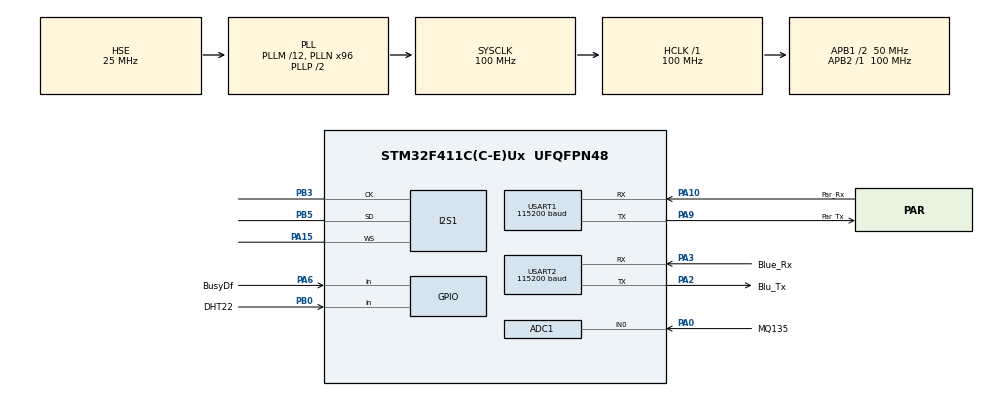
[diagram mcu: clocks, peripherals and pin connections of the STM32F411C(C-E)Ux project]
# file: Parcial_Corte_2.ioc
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ADC1.Channel-3\#ChannelRegularConversion=ADC_CHANNEL_0
ADC1.ContinuousConvMode=ENABLE
ADC1.DMAContinuousRequests=ENABLE
ADC1.NbrOfConversion=1
ADC1.NbrOfConversionFlag=1
ADC1.Rank-3\#ChannelRegularConversion=1
ADC1.SamplingTime-3\#ChannelRegularConversion=ADC_SAMPLETIME_480CYCLES
ADC1.master=1
Dma.ADC1.0.Direction=DMA_PERIPH_TO_MEMORY
Dma.ADC1.0.FIFOMode=DMA_FIFOMODE_DISABLE
Dma.ADC1.0.Instance=DMA2_Stream0
Dma.ADC1.0.MemDataAlignment=DMA_MDATAALIGN_HALFWORD
Dma.ADC1.0.MemInc=DMA_MINC_ENABLE
Dma.ADC1.0.Mode=DMA_CIRCULAR
Dma.ADC1.0.PeriphDataAlignment=DMA_PDATAALIGN_HALFWORD
Dma.ADC1.0.PeriphInc=DMA_PINC_DISABLE
Dma.ADC1.0.Priority=DMA_PRIORITY_LOW
Dma.Request0=ADC1
Dma.Request1=SPI1_RX
Dma.SPI1_RX.1.Direction=DMA_PERIPH_TO_MEMORY
Dma.SPI1_RX.1.FIFOMode=DMA_FIFOMODE_DISABLE
Dma.SPI1_RX.1.Instance=DMA2_Stream2
Dma.SPI1_RX.1.MemDataAlignment=DMA_MDATAALIGN_HALFWORD
Dma.SPI1_RX.1.MemInc=DMA_MINC_ENABLE
Dma.SPI1_RX.1.Mode=DMA_CIRCULAR
Dma.SPI1_RX.1.PeriphDataAlignment=DMA_PDATAALIGN_HALFWORD
Dma.SPI1_RX.1.PeriphInc=DMA_PINC_DISABLE
Dma.SPI1_RX.1.Priority=DMA_PRIORITY_HIGH
I2S1.AudioFreq=I2S_AUDIOFREQ_16K
I2S1.DataFormat=I2S_DATAFORMAT_24B
I2S1.ErrorAudioFreq=0.33 %
I2S1.FullDuplexMode=I2S_FULLDUPLEXMODE_DISABLE
I2S1.Instance=SPI$Index
I2S1.Mode=I2S_MODE_MASTER_RX
I2S1.RealAudioFreq=16.053 KHz
I2S1.VirtualMode=I2S_MODE_MASTER
Mcu.Family=STM32F4
Mcu.Name=STM32F411C(C-E)Ux
Mcu.Package=UFQFPN48
NVIC.DMA2_Stream0_IRQn=true\:0\:0\:false\:false\:true\:false\:true\:true
NVIC.DMA2_Stream2_IRQn=true\:0\:0\:false\:false\:true\:false\:true\:true
NVIC.PriorityGroup=NVIC_PRIORITYGROUP_4
PA0-WKUP.GPIO_Label=MQ135
PA0-WKUP.Signal=ADCx_IN0
PA10.GPIO_Label=Par_Rx
PA10.Mode=Asynchronous
PA10.Signal=USART1_RX
PA15.Mode=Half_Duplex_Master
PA15.Signal=I2S1_WS
PA2.GPIO_Label=Blu_Tx
PA2.Mode=Asynchronous
PA2.Signal=USART2_TX
PA3.GPIO_Label=Blue_Rx
PA3.Mode=Asynchronous
PA3.Signal=USART2_RX
PA6.GPIO_Label=BusyDf
PA6.Signal=GPIO_Input
PA9.GPIO_Label=Par_Tx
PA9.Mode=Asynchronous
PA9.Signal=USART1_TX
PB0.GPIO_Label=DHT22
PB0.Signal=GPIO_Input
PB3.Mode=Half_Duplex_Master
PB3.Signal=I2S1_CK
PB5.Mode=Half_Duplex_Master
PB5.Signal=I2S1_SD
PH0\ -\ OSC_IN.Mode=HSE-External-Oscillator
PH0\ -\ OSC_IN.Signal=RCC_OSC_IN
PH1\ -\ OSC_OUT.Mode=HSE-External-Oscillator
PH1\ -\ OSC_OUT.Signal=RCC_OSC_OUT
ProjectManager.HeapSize=0x200
ProjectManager.StackSize=0x400
ProjectManager.TargetToolchain=CMake
RCC.48MHZClocksFreq_Value=50000000
RCC.AHBFreq_Value=100000000
RCC.APB1CLKDivider=RCC_HCLK_DIV2
RCC.APB1Freq_Value=50000000
RCC.APB1TimFreq_Value=100000000
RCC.APB2Freq_Value=100000000
RCC.APB2TimFreq_Value=100000000
RCC.CortexFreq_Value=100000000
RCC.HCLKFreq_Value=100000000
RCC.HSE_VALUE=25000000
RCC.HSI_VALUE=16000000
RCC.LSE_VALUE=32768
RCC.PLLM=12
RCC.PLLN=96
RCC.PLLSourceVirtual=RCC_PLLSOURCE_HSE
RCC.SYSCLKFreq_VALUE=100000000
RCC.SYSCLKSource=RCC_SYSCLKSOURCE_PLLCLK
RCC.VCOOutputFreq_Value=200000000
SH.ADCx_IN0.0=ADC1_IN0,IN0
TIM2.AutoReloadPreload=TIM_AUTORELOAD_PRELOAD_ENABLE
TIM2.Period=19999
TIM2.Prescaler=99
USART1.BaudRate=115200
USART1.VirtualMode=VM_ASYNC
USART2.BaudRate=115200
USART2.VirtualMode=VM_ASYNC
VP_TIM2_VS_ClockSourceINT.Mode=Internal
board=custom

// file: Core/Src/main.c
/* USER CODE BEGIN Header */
/**
  ******************************************************************************
  * @file           : main.c
  * @brief          : Main program body
  ******************************************************************************
  * @attention
  *
  * Copyright (c) 2026 STMicroelectronics.
  * All rights reserved.
  *
  * This software is licensed under terms that can be found in the LICENSE file
  * in the root directory of this software component.
  * If no LICENSE file comes with this software, it is provided AS-IS.
  *
  ******************************************************************************
  */
/* USER CODE END Header */
#include "main.h"

/* USER CODE BEGIN Includes */
#include "stdio.h"
#include "math.h"
#include "stdlib.h"
#include "inmp441.h"
#include "uart.h"
#include "adc_x.h"
#include "mq135.h"
#include "dht22.h"
/* USER CODE END Includes */

/* USER CODE BEGIN PD */
#define DEBUG_UART                  huart2

#define MQ135_CALIBRAR_AL_ARRANQUE  0     // pon 0 cuando ya tengas R0 fijo en mq135.h
#define MQ135_PRECALENTAMIENTO_S    120   // segundos (para probar rápido, usa 60)

#define MQ_MUESTRAS                 8     // lecturas que se promedian
#define MQ_PERIODO_MUESTRA_MS       20    // una lectura cada 20 ms (no bloqueante)
#define MQ_PERIODO_REPORTE_MS       500   // cada cuánto se imprime el CO2
/* USER CODE END PD */

ADC_HandleTypeDef hadc1;
DMA_HandleTypeDef hdma_adc1;

I2S_HandleTypeDef hi2s1;
DMA_HandleTypeDef hdma_spi1_rx;

TIM_HandleTypeDef htim2;

UART_HandleTypeDef huart1;
UART_HandleTypeDef huart2;

/* USER CODE BEGIN PV */
uint16_t adc_value;
char texto[50];
float co2_ppm = 0.0f;
MQ135_t sensor_mq135;
/* USER CODE END PV */

void SystemClock_Config(void);
static void MX_GPIO_Init(void);
static void MX_DMA_Init(void);
static void MX_I2S1_Init(void);
static void MX_USART1_UART_Init(void);
static void MX_ADC1_Init(void);
static void MX_TIM2_Init(void);
static void MX_USART2_UART_Init(void);

/* USER CODE BEGIN 0 */
int _write(int file, char *ptr, int len)
{
    uartx_write_buffer(&DEBUG_UART, (uint8_t *)ptr, (uint16_t)len);
    return len;
}

static uint32_t MQ_Promedio(uint8_t n)
{
    uint32_t suma = 0;
    for (uint8_t i = 0; i < n; i++) {
        adc_value = ADC_Read(&hadc1);
        suma += adc_value;
        HAL_Delay(20);
    }
    return suma / n;
}

static void mq135_task(void)
{
    static uint32_t t_muestra = 0;
    static uint32_t suma = 0;
    static uint8_t  n = 0;

    if ((HAL_GetTick() - t_muestra) < MQ_PERIODO_MUESTRA_MS) return;
    t_muestra = HAL_GetTick();

    adc_value = ADC_Read(&hadc1);
    suma += adc_value;

    if (++n >= MQ_MUESTRAS) {
        co2_ppm = MQ135_ReadPPM(&sensor_mq135, suma / MQ_MUESTRAS);
        suma = 0;
        n = 0;
    }
}
/* USER CODE END 0 */

int main(void)
{

  /* MCU Configuration--------------------------------------------------------*/

  /* Reset of all peripherals, Initializes the Flash interface and the Systick. */
  HAL_Init();

  /* Configure the system clock */
  SystemClock_Config();

  /* Initialize all configured peripherals */
  MX_GPIO_Init();
  MX_DMA_Init();
  MX_I2S1_Init();
  MX_USART1_UART_Init();
  MX_ADC1_Init();
  MX_TIM2_Init();
  MX_USART2_UART_Init();
  /* USER CODE BEGIN 2 */

  dht22_init();

 setvbuf(stdout, NULL, _IONBF, 0);

    uartx_write_text(&DEBUG_UART, "Iniciando Procesos\r\n");
    MQ135_Init(&sensor_mq135, MQ135_DEFAULT_R0);

#if MQ135_CALIBRAR_AL_ARRANQUE
    for (uint16_t s = 0; s < MQ135_PRECALENTAMIENTO_S; s++) {
        sprintf(texto, ">calentando_s:%u\r\n", s);
        uartx_write_text(&DEBUG_UART, texto);
        HAL_Delay(1000);
    }
    MQ135_Calibrate(&sensor_mq135, MQ_Promedio(32));
    sprintf(texto, ">R0_cal:%.2f\r\n", sensor_mq135.r0);
    uartx_write_text(&DEBUG_UART, texto);
#endif

    /* El audio arranca DESPUÉS de lo bloqueante, así no se acumulan overruns */
    if (inmp441_init(&hi2s1) != HAL_OK) Error_Handler();
    printf("RxXferSize=%u (debe ser %u)\r\n", hi2s1.RxXferSize, INMP441_DMA_HALFWORDS);
  /* USER CODE END 2 */

  /* Infinite loop */
  /* USER CODE BEGIN WHILE */
while (1)
  {

        /* 1) AUDIO: se llama en cada vuelta, sin esperas en el resto del lazo */
        inmp441_result_t res;
        if (inmp441_process(&res)) {
            char msg[64];
            int n = snprintf(msg, sizeof(msg), ">freq:%u\n>rms:%u\n>ovr:%lu\n",
                             (unsigned)(res.freq_hz + 0.5f),
                             (unsigned)res.rms,
                             (unsigned long)res.overruns);
            uartx_write_buffer(&DEBUG_UART, (uint8_t *)msg, (uint16_t)n);
        }

        /* 2) MQ135: muestrea sin bloquear */
        mq135_task();

        /* 3) Reporte del CO2 cada 500 ms */
        static uint32_t t_rep = 0;
        if ((HAL_GetTick() - t_rep) >= MQ_PERIODO_REPORTE_MS) {
            t_rep = HAL_GetTick();
            sprintf(texto, ">CO2:%.1f\r\n", co2_ppm);
            uartx_write_text(&DEBUG_UART, texto);

        }
        static uint32_t t_dht = 0;
if ((HAL_GetTick() - t_dht) >= 2500U) {
    dht22_data_t d;
    HAL_StatusTypeDef st = dht22_read(&d);
    if (st != HAL_BUSY) {            /* BUSY = no tocó la línea */
        t_dht = HAL_GetTick();
        inmp441_discard();           /* la ventana de audio quedó rota */
        if (st == HAL_OK) {
            sprintf(texto, ">temp:%.1f\r\n>hum:%.1f\r\n", d.temp_c, d.hum_pct);
        } else {
            sprintf(texto, ">dht_err:%d\r\n", (int)st);   /* 3=TIMEOUT, 1=ERROR */
        }
        uartx_write_text(&DEBUG_UART, texto);
    }
}
    /* USER CODE END WHILE */

}
}

void SystemClock_Config(void)
{
  RCC_OscInitTypeDef RCC_OscInitStruct = {0};
  RCC_ClkInitTypeDef RCC_ClkInitStruct = {0};

  /** Configure the main internal regulator output voltage
  */
  __HAL_RCC_PWR_CLK_ENABLE();
  __HAL_PWR_VOLTAGESCALING_CONFIG(PWR_REGULATOR_VOLTAGE_SCALE1);

  /** Initializes the RCC Oscillators according to the specified parameters
  * in the RCC_OscInitTypeDef structure.
  */
  RCC_OscInitStruct.OscillatorType = RCC_OSCILLATORTYPE_HSE;
  RCC_OscInitStruct.HSEState = RCC_HSE_ON;
  RCC_OscInitStruct.PLL.PLLState = RCC_PLL_ON;
  RCC_OscInitStruct.PLL.PLLSource = RCC_PLLSOURCE_HSE;
  RCC_OscInitStruct.PLL.PLLM = 12;
  RCC_OscInitStruct.PLL.PLLN = 96;
  RCC_OscInitStruct.PLL.PLLP = RCC_PLLP_DIV2;
  RCC_OscInitStruct.PLL.PLLQ = 4;
  if (HAL_RCC_OscConfig(&RCC_OscInitStruct) != HAL_OK)
  {
    Error_Handler();
  }

  /** Initializes the CPU, AHB and APB buses clocks
  */
  RCC_ClkInitStruct.ClockType = RCC_CLOCKTYPE_HCLK|RCC_CLOCKTYPE_SYSCLK
                              |RCC_CLOCKTYPE_PCLK1|RCC_CLOCKTYPE_PCLK2;
  RCC_ClkInitStruct.SYSCLKSource = RCC_SYSCLKSOURCE_PLLCLK;
  RCC_ClkInitStruct.AHBCLKDivider = RCC_SYSCLK_DIV1;
  RCC_ClkInitStruct.APB1CLKDivider = RCC_HCLK_DIV2;
  RCC_ClkInitStruct.APB2CLKDivider = RCC_HCLK_DIV1;

  if (HAL_RCC_ClockConfig(&RCC_ClkInitStruct, FLASH_LATENCY_3) != HAL_OK)
  {
    Error_Handler();
  }
}

static void MX_ADC1_Init(void)
{

  ADC_ChannelConfTypeDef sConfig = {0};

  /** Configure the global features of the ADC (Clock, Resolution, Data Alignment and number of conversion)
  */
  hadc1.Instance = ADC1;
  hadc1.Init.ClockPrescaler = ADC_CLOCK_SYNC_PCLK_DIV4;
  hadc1.Init.Resolution = ADC_RESOLUTION_12B;
  hadc1.Init.ScanConvMode = DISABLE;
  hadc1.Init.ContinuousConvMode = ENABLE;
  hadc1.Init.DiscontinuousConvMode = DISABLE;
  hadc1.Init.ExternalTrigConvEdge = ADC_EXTERNALTRIGCONVEDGE_NONE;
  hadc1.Init.ExternalTrigConv = ADC_SOFTWARE_START;
  hadc1.Init.DataAlign = ADC_DATAALIGN_RIGHT;
  hadc1.Init.NbrOfConversion = 1;
  hadc1.Init.DMAContinuousRequests = ENABLE;
  hadc1.Init.EOCSelection = ADC_EOC_SINGLE_CONV;
  if (HAL_ADC_Init(&hadc1) != HAL_OK)
  {
    Error_Handler();
  }

  /** Configure for the selected ADC regular channel its corresponding rank in the sequencer and its sample time.
  */
  sConfig.Channel = ADC_CHANNEL_0;
  sConfig.Rank = 1;
  sConfig.SamplingTime = ADC_SAMPLETIME_480CYCLES;
  if (HAL_ADC_ConfigChannel(&hadc1, &sConfig) != HAL_OK)
  {
    Error_Handler();
  }

}

static void MX_I2S1_Init(void)
{

  hi2s1.Instance = SPI1;
  hi2s1.Init.Mode = I2S_MODE_MASTER_RX;
  hi2s1.Init.Standard = I2S_STANDARD_PHILIPS;
  hi2s1.Init.DataFormat = I2S_DATAFORMAT_24B;
  hi2s1.Init.MCLKOutput = I2S_MCLKOUTPUT_DISABLE;
  hi2s1.Init.AudioFreq = I2S_AUDIOFREQ_16K;
  hi2s1.Init.CPOL = I2S_CPOL_LOW;
  hi2s1.Init.ClockSource = I2S_CLOCK_PLL;
  hi2s1.Init.FullDuplexMode = I2S_FULLDUPLEXMODE_DISABLE;
  if (HAL_I2S_Init(&hi2s1) != HAL_OK)
  {
    Error_Handler();
  }

}

static void MX_TIM2_Init(void)
{

  TIM_ClockConfigTypeDef sClockSourceConfig = {0};
  TIM_MasterConfigTypeDef sMasterConfig = {0};

  htim2.Instance = TIM2;
  htim2.Init.Prescaler = 99;
  htim2.Init.CounterMode = TIM_COUNTERMODE_UP;
  htim2.Init.Period = 19999;
  htim2.Init.ClockDivision = TIM_CLOCKDIVISION_DIV1;
  htim2.Init.AutoReloadPreload = TIM_AUTORELOAD_PRELOAD_ENABLE;
  if (HAL_TIM_Base_Init(&htim2) != HAL_OK)
  {
    Error_Handler();
  }
  sClockSourceConfig.ClockSource = TIM_CLOCKSOURCE_INTERNAL;
  if (HAL_TIM_ConfigClockSource(&htim2, &sClockSourceConfig) != HAL_OK)
  {
    Error_Handler();
  }
  sMasterConfig.MasterOutputTrigger = TIM_TRGO_RESET;
  sMasterConfig.MasterSlaveMode = TIM_MASTERSLAVEMODE_DISABLE;
  if (HAL_TIMEx_MasterConfigSynchronization(&htim2, &sMasterConfig) != HAL_OK)
  {
    Error_Handler();
  }

}

static void MX_USART1_UART_Init(void)
{

  huart1.Instance = USART1;
  huart1.Init.BaudRate = 115200;
  huart1.Init.WordLength = UART_WORDLENGTH_8B;
  huart1.Init.StopBits = UART_STOPBITS_1;
  huart1.Init.Parity = UART_PARITY_NONE;
  huart1.Init.Mode = UART_MODE_TX_RX;
  huart1.Init.HwFlowCtl = UART_HWCONTROL_NONE;
  huart1.Init.OverSampling = UART_OVERSAMPLING_16;
  if (HAL_UART_Init(&huart1) != HAL_OK)
  {
    Error_Handler();
  }

}

static void MX_USART2_UART_Init(void)
{

  huart2.Instance = USART2;
  huart2.Init.BaudRate = 115200;
  huart2.Init.WordLength = UART_WORDLENGTH_8B;
  huart2.Init.StopBits = UART_STOPBITS_1;
  huart2.Init.Parity = UART_PARITY_NONE;
  huart2.Init.Mode = UART_MODE_TX_RX;
  huart2.Init.HwFlowCtl = UART_HWCONTROL_NONE;
  huart2.Init.OverSampling = UART_OVERSAMPLING_16;
  if (HAL_UART_Init(&huart2) != HAL_OK)
  {
    Error_Handler();
  }

}

static void MX_DMA_Init(void)
{

  /* DMA controller clock enable */
  __HAL_RCC_DMA2_CLK_ENABLE();

  /* DMA interrupt init */
  /* DMA2_Stream0_IRQn interrupt configuration */
  HAL_NVIC_SetPriority(DMA2_Stream0_IRQn, 0, 0);
  HAL_NVIC_EnableIRQ(DMA2_Stream0_IRQn);
  /* DMA2_Stream2_IRQn interrupt configuration */
  HAL_NVIC_SetPriority(DMA2_Stream2_IRQn, 0, 0);
  HAL_NVIC_EnableIRQ(DMA2_Stream2_IRQn);

}

static void MX_GPIO_Init(void)
{
  GPIO_InitTypeDef GPIO_InitStruct = {0};

  /* GPIO Ports Clock Enable */
  __HAL_RCC_GPIOH_CLK_ENABLE();
  __HAL_RCC_GPIOA_CLK_ENABLE();
  __HAL_RCC_GPIOB_CLK_ENABLE();

  /*Configure GPIO pin : BusyDf_Pin */
  GPIO_InitStruct.Pin = BusyDf_Pin;
  GPIO_InitStruct.Mode = GPIO_MODE_INPUT;
  GPIO_InitStruct.Pull = GPIO_NOPULL;
  HAL_GPIO_Init(BusyDf_GPIO_Port, &GPIO_InitStruct);

  /*Configure GPIO pin : DHT22_Pin */
  GPIO_InitStruct.Pin = DHT22_Pin;
  GPIO_InitStruct.Mode = GPIO_MODE_INPUT;
  GPIO_InitStruct.Pull = GPIO_NOPULL;
  HAL_GPIO_Init(DHT22_GPIO_Port, &GPIO_InitStruct);

}

void Error_Handler(void)
{
  __disable_irq();
  while (1)
  {
  }
}
